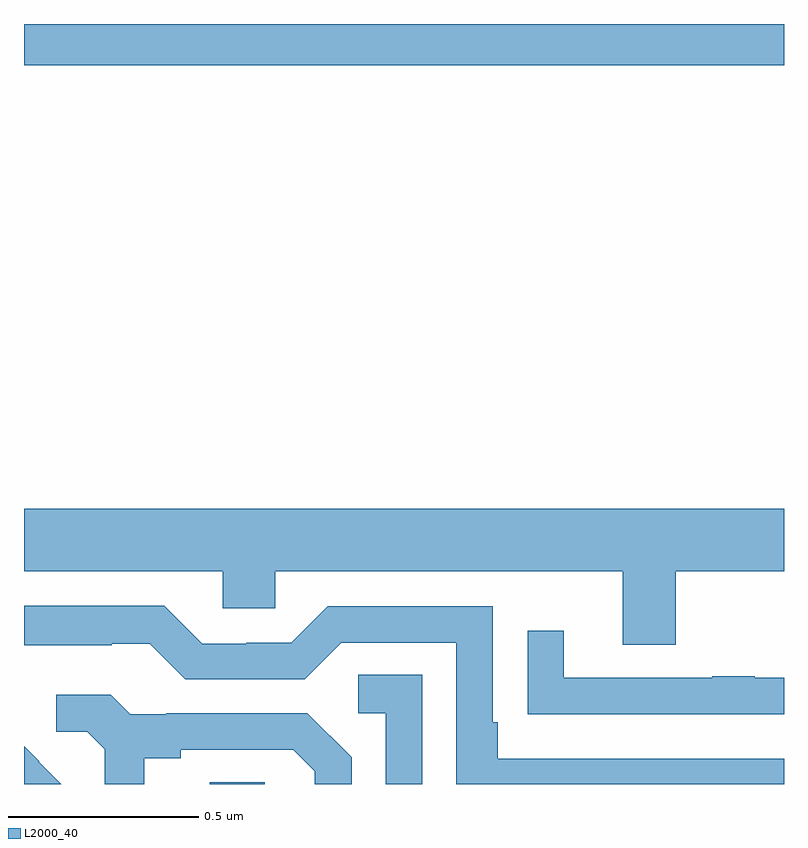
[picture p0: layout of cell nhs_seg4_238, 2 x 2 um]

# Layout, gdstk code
import gdstk
lib = gdstk.Library(unit=1e-6, precision=1e-09)
def R(c, l, rs):  # rectangles x0, y0, x1, y1
    for r in rs: c.add(gdstk.rectangle(r[:2], r[2:], *l))
def P(c, l, *ps):  # polygons
    for p in ps: c.add(gdstk.Polygon(p, *l))
L2000_40 = (2000, 40)

nhs_seg4_238 = lib.new_cell('nhs_seg4_238')
R(nhs_seg4_238, L2000_40, [(113.489,822.9,113.634,822.905), (113,824.792,115,824.9)])
P(nhs_seg4_238, L2000_40, [(114.715,823.46),(115,823.46),(115,823.624),(113,823.624),(113,823.46),(113.523,823.46),(113.523,823.362),(113.661,823.362),(113.661,823.46),(114.575,823.46),(114.575,823.266),(114.715,823.266)],
  [(115,822.966),(114.247,822.966),(114.247,823.063),(114.234,823.063),(114.234,823.368),(113.799,823.368),(113.703,823.272),(113.585,823.272),(113.585,823.269),(113.469,823.269),(113.369,823.369),(113,823.369),(113,823.265),(113.231,823.265),(113.231,823.269),(113.331,823.269),(113.424,823.176),(113.739,823.176),(113.835,823.272),(114.138,823.272),(114.138,822.9),(115,822.9)],
  [(115,823.179),(114.923,823.179),(114.923,823.184),(114.811,823.184),(114.811,823.179),(114.421,823.179),(114.421,823.303),(114.325,823.303),(114.325,823.084),(114.427,823.084),(114.427,823.083),(115,823.083)],
  [(114.048,823.187),(113.88,823.187),(113.88,823.086),(113.952,823.086),(113.952,822.9),(114.048,822.9)],
  [(113.317,822.968),(113.413,822.968),(113.413,822.99),(113.708,822.99),(113.765,822.933),(113.765,822.9),(113.862,822.9),(113.862,822.97),(113.746,823.086),(113.374,823.086),(113.374,823.083),(113.28,823.083),(113.228,823.135),(113.085,823.135),(113.085,823.038),(113.166,823.038),(113.213,822.991),(113.213,822.9),(113.317,822.9)],
  [(113.039,822.959),(113.04,822.96),(113,823),(113,822.9),(113.098,822.9)])

lib.write_gds('nhs_seg4_238.gds')
